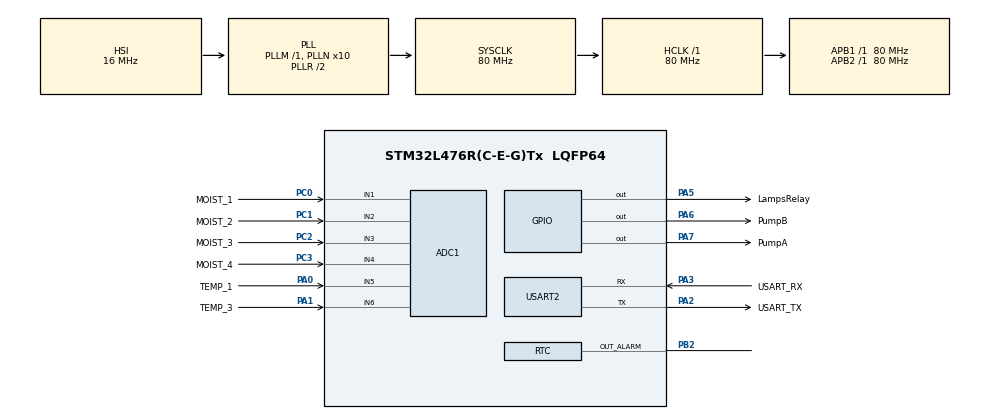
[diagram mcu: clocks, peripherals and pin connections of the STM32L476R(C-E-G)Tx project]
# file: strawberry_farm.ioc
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ADC1.Channel-0\#ChannelRegularConversion=ADC_CHANNEL_1
ADC1.Channel-1\#ChannelRegularConversion=ADC_CHANNEL_2
ADC1.Channel-2\#ChannelRegularConversion=ADC_CHANNEL_3
ADC1.Channel-3\#ChannelRegularConversion=ADC_CHANNEL_4
ADC1.Channel-4\#ChannelRegularConversion=ADC_CHANNEL_5
ADC1.Channel-5\#ChannelRegularConversion=ADC_CHANNEL_6
ADC1.EnableInjectedConversion=DISABLE
ADC1.NbrOfConversion=6
ADC1.NbrOfConversionFlag=1
ADC1.OffsetNumber-0\#ChannelRegularConversion=ADC_OFFSET_NONE
ADC1.OffsetNumber-1\#ChannelRegularConversion=ADC_OFFSET_NONE
ADC1.OffsetNumber-2\#ChannelRegularConversion=ADC_OFFSET_NONE
ADC1.OffsetNumber-3\#ChannelRegularConversion=ADC_OFFSET_NONE
ADC1.OffsetNumber-4\#ChannelRegularConversion=ADC_OFFSET_NONE
ADC1.OffsetNumber-5\#ChannelRegularConversion=ADC_OFFSET_NONE
ADC1.Rank-0\#ChannelRegularConversion=1
ADC1.Rank-1\#ChannelRegularConversion=2
ADC1.Rank-2\#ChannelRegularConversion=3
ADC1.Rank-3\#ChannelRegularConversion=4
ADC1.Rank-4\#ChannelRegularConversion=5
ADC1.Rank-5\#ChannelRegularConversion=6
ADC1.SamplingTime-0\#ChannelRegularConversion=ADC_SAMPLETIME_92CYCLES_5
ADC1.SamplingTime-1\#ChannelRegularConversion=ADC_SAMPLETIME_92CYCLES_5
ADC1.SamplingTime-2\#ChannelRegularConversion=ADC_SAMPLETIME_92CYCLES_5
ADC1.SamplingTime-3\#ChannelRegularConversion=ADC_SAMPLETIME_92CYCLES_5
ADC1.SamplingTime-4\#ChannelRegularConversion=ADC_SAMPLETIME_92CYCLES_5
ADC1.SamplingTime-5\#ChannelRegularConversion=ADC_SAMPLETIME_92CYCLES_5
ADC1.master=1
FREERTOS.Tasks01=TimeBasedTask,24,128,StartTimeBasedTask,Default,NULL,Dynamic,NULL,NULL;TransmitTask,24,128,StartTransmitTask,Default,NULL,Dynamic,NULL,NULL
FREERTOS.configUSE_NEWLIB_REENTRANT=1
FREERTOS.configUSE_TICKLESS_IDLE=1
Mcu.Family=STM32L4
Mcu.Name=STM32L476R(C-E-G)Tx
Mcu.Package=LQFP64
NVIC.PriorityGroup=NVIC_PRIORITYGROUP_4
NVIC.TIM7_IRQn=true\:15\:0\:false\:false\:true\:false\:false\:true\:true
NVIC.TimeBase=TIM7_IRQn
NVIC.TimeBaseIP=TIM7
PA0.GPIO_Label=TEMP_1
PA0.Signal=ADCx_IN5
PA1.GPIO_Label=TEMP_3
PA1.Signal=ADCx_IN6
PA13\ (JTMS-SWDIO).GPIO_Label=TMS
PA13\ (JTMS-SWDIO).Mode=Serial_Wire
PA13\ (JTMS-SWDIO).Signal=SYS_JTMS-SWDIO
PA14\ (JTCK-SWCLK).GPIO_Label=TCK
PA14\ (JTCK-SWCLK).Mode=Serial_Wire
PA14\ (JTCK-SWCLK).Signal=SYS_JTCK-SWCLK
PA2.GPIO_Label=USART_TX
PA2.GPIO_Mode=GPIO_MODE_AF_PP
PA2.GPIO_PuPd=GPIO_NOPULL
PA2.GPIO_Speed=GPIO_SPEED_FREQ_VERY_HIGH
PA2.Mode=Asynchronous
PA2.Signal=USART2_TX
PA3.GPIO_Label=USART_RX
PA3.GPIO_Mode=GPIO_MODE_AF_PP
PA3.GPIO_PuPd=GPIO_NOPULL
PA3.GPIO_Speed=GPIO_SPEED_FREQ_VERY_HIGH
PA3.Mode=Asynchronous
PA3.Signal=USART2_RX
PA5.GPIO_Label=LampsRelay
PA5.GPIO_ModeDefaultOutputPP=GPIO_MODE_OUTPUT_PP
PA5.GPIO_PuPd=GPIO_PULLUP
PA5.PinState=GPIO_PIN_SET
PA5.Signal=GPIO_Output
PA6.GPIO_Label=PumpB
PA6.GPIO_PuPd=GPIO_PULLDOWN
PA6.Signal=GPIO_Output
PA7.GPIO_Label=PumpA
PA7.GPIO_PuPd=GPIO_PULLDOWN
PA7.Signal=GPIO_Output
PB2.Mode=AlarmA_RoutedAF
PB2.Signal=RTC_OUT_ALARM
PB3\ (JTDO-TRACESWO).GPIO_Label=SWO
PB3\ (JTDO-TRACESWO).Signal=SYS_JTDO-SWO
PC0.GPIO_Label=MOIST_1
PC0.Signal=ADCx_IN1
PC1.GPIO_Label=MOIST_2
PC1.Signal=ADCx_IN2
PC14-OSC32_IN\ (PC14).Mode=LSE-External-Oscillator
PC14-OSC32_IN\ (PC14).Signal=RCC_OSC32_IN
PC15-OSC32_OUT\ (PC15).Mode=LSE-External-Oscillator
PC15-OSC32_OUT\ (PC15).Signal=RCC_OSC32_OUT
PC2.GPIO_Label=MOIST_3
PC2.Signal=ADCx_IN3
PC3.GPIO_Label=MOIST_4
PC3.Signal=ADCx_IN4
PH0-OSC_IN\ (PH0).Signal=RCC_OSC_IN
PH1-OSC_OUT\ (PH1).Signal=RCC_OSC_OUT
ProjectManager.HeapSize=0x200
ProjectManager.StackSize=0x400
ProjectManager.TargetToolchain=STM32CubeIDE
RCC.ADCFreq_Value=64000000
RCC.AHBFreq_Value=80000000
RCC.APB1Freq_Value=80000000
RCC.APB1TimFreq_Value=80000000
RCC.APB2Freq_Value=80000000
RCC.APB2TimFreq_Value=80000000
RCC.CortexFreq_Value=80000000
RCC.HCLKFreq_Value=80000000
RCC.HSE_VALUE=8000000
RCC.HSI_VALUE=16000000
RCC.MSI_VALUE=4000000
RCC.PLLN=10
RCC.PLLSourceVirtual=RCC_PLLSOURCE_HSI
RCC.PREFETCH_ENABLE=1
RCC.RTCClockSelection=RCC_RTCCLKSOURCE_LSE
RCC.SYSCLKFreq_VALUE=80000000
RCC.SYSCLKSource=RCC_SYSCLKSOURCE_PLLCLK
RCC.USBFreq_Value=64000000
RCC.VCOOutputFreq_Value=160000000
RTC.Alarm-AlarmA_RoutedAF=RTC_ALARM_A
RTC.Format=RTC_FORMAT_BIN
RTC.Hours=17
RTC.Minutes=40
RTC.Seconds=0
SH.ADCx_IN1.0=ADC1_IN1,IN1-Single-Ended
SH.ADCx_IN2.0=ADC1_IN2,IN2-Single-Ended
SH.ADCx_IN3.0=ADC1_IN3,IN3-Single-Ended
SH.ADCx_IN4.0=ADC1_IN4,IN4-Single-Ended
SH.ADCx_IN5.0=ADC1_IN5,IN5-Single-Ended
SH.ADCx_IN6.0=ADC1_IN6,IN6-Single-Ended
USART2.VirtualMode-Asynchronous=VM_ASYNC
VP_FREERTOS_VS_CMSIS_V2.Mode=CMSIS_V2
VP_RTC_VS_RTC_Activate.Mode=RTC_Enabled
VP_RTC_VS_RTC_Calendar.Mode=RTC_Calendar
VP_SYS_VS_tim7.Mode=TIM7
board=NUCLEO-L476RG

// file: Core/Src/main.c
/* USER CODE BEGIN Header */
/**
  ******************************************************************************
  * @file           : main.c
  * @brief          : Main program body
  ******************************************************************************
  * @attention
  *
  * Copyright (c) 2026 STMicroelectronics.
  * All rights reserved.
  *
  * This software is licensed under terms that can be found in the LICENSE file
  * in the root directory of this software component.
  * If no LICENSE file comes with this software, it is provided AS-IS.
  *
  ******************************************************************************
  */
/* USER CODE END Header */
#include "main.h"
#include "cmsis_os.h"

/* USER CODE BEGIN Includes */
#include "semphr.h"  // This is the one that defines SemaphoreHandle_t
#include <stdio.h>
#include "FreeRTOS.h"
/* USER CODE END Includes */

/* USER CODE BEGIN PD */
/* Buffer to store 6 ADC values */
#define V_REF 3.3f
uint16_t adc_values[6];
SemaphoreHandle_t adc_sem;
TaskHandle_t AdcTaskHandle;
/* USER CODE END PD */

ADC_HandleTypeDef hadc1;

RTC_HandleTypeDef hrtc;

UART_HandleTypeDef huart2;

/* Definitions for TimeBasedTask */
osThreadId_t TimeBasedTaskHandle;
const osThreadAttr_t TimeBasedTask_attributes = {
  .name = "TimeBasedTask",
  .stack_size = 128 * 4,
  .priority = (osPriority_t) osPriorityNormal,
};
/* Definitions for TransmitTask */
osThreadId_t TransmitTaskHandle;
const osThreadAttr_t TransmitTask_attributes = {
  .name = "TransmitTask",
  .stack_size = 128 * 4,
  .priority = (osPriority_t) osPriorityNormal,
};
/* USER CODE BEGIN PV */

typedef struct
{
    uint16_t moist_1;
    uint16_t moist_2;
    uint16_t moist_3;
    uint16_t moist_4;
    uint16_t temp_1;
    uint16_t temp_3;
} SensorRaw_t;

static SensorRaw_t g_sensor_raw;

/* USER CODE END PV */

void SystemClock_Config(void);
static void MX_GPIO_Init(void);
static void MX_USART2_UART_Init(void);
static void MX_RTC_Init(void);
static void MX_ADC1_Init(void);
void StartTimeBasedTask(void *argument);
void StartTransmitTask(void *argument);

/* USER CODE BEGIN 0 */

static HAL_StatusTypeDef ReadAllAdcChannels(SensorRaw_t *out)
{
    uint32_t values[6] = {0};

    if (out == NULL)
        return HAL_ERROR;

    if (HAL_ADC_Start(&hadc1) != HAL_OK)
        return HAL_ERROR;

    for (int i = 0; i < 6; i++)
    {
        if (HAL_ADC_PollForConversion(&hadc1, 20) != HAL_OK)
        {
            HAL_ADC_Stop(&hadc1);
            return HAL_TIMEOUT;
        }

        values[i] = HAL_ADC_GetValue(&hadc1);
    }

    if (HAL_ADC_Stop(&hadc1) != HAL_OK)
        return HAL_ERROR;

    out->moist_1 = (uint16_t)values[0];
    out->moist_2 = (uint16_t)values[1];
    out->moist_3 = (uint16_t)values[2];
    out->moist_4 = (uint16_t)values[3];
    out->temp_1  = (uint16_t)values[4];
    out->temp_3  = (uint16_t)values[5];

    return HAL_OK;
}

static float AdcToVoltage(uint16_t raw)
{
    const float vdda = 3.3f;
    return ((float)raw * vdda) / 4095.0f;
}

static void SendSensorLine(const SensorRaw_t *s)
{
    if (s == NULL)
        return;

    char txbuf[160];

    float v_m1 = AdcToVoltage(s->moist_1);
    float v_m2 = AdcToVoltage(s->moist_2);
    float v_m3 = AdcToVoltage(s->moist_3);
    float v_m4 = AdcToVoltage(s->moist_4);
    float v_t1 = AdcToVoltage(s->temp_1);
    float v_t3 = AdcToVoltage(s->temp_3);

    int len = snprintf(
        txbuf, sizeof(txbuf),
        "moist_1=%u(%.3fV), moist_2=%u(%.3fV), moist_3=%u(%.3fV), moist_4=%u(%.3fV), TEMP_1=%u(%.3fV), TEMP_3=%u(%.3fV)\r\n",
        s->moist_1, v_m1,
        s->moist_2, v_m2,
        s->moist_3, v_m3,
        s->moist_4, v_m4,
        s->temp_1,  v_t1,
        s->temp_3,  v_t3
    );

    if (len <= 0)
        return;

    if (len >= (int)sizeof(txbuf))
    {
        // Message truncated; skip it to avoid sending partial junk
        return;
    }

    // Short timeout so the task does not get stuck
    (void)HAL_UART_Transmit(&huart2, (uint8_t *)txbuf, (uint16_t)len, 50);
}
/* USER CODE END 0 */

int main(void)
{

  /* MCU Configuration--------------------------------------------------------*/

  /* Reset of all peripherals, Initializes the Flash interface and the Systick. */
  HAL_Init();

  /* Configure the system clock */
  SystemClock_Config();

  /* Initialize all configured peripherals */
  MX_GPIO_Init();
  MX_USART2_UART_Init();
  MX_RTC_Init();
  MX_ADC1_Init();

  /* Init scheduler */
  osKernelInitialize();

  /* Create the thread(s) */
  /* creation of TimeBasedTask */
  TimeBasedTaskHandle = osThreadNew(StartTimeBasedTask, NULL, &TimeBasedTask_attributes);

  /* creation of TransmitTask */
  TransmitTaskHandle = osThreadNew(StartTransmitTask, NULL, &TransmitTask_attributes);

  /* Start scheduler */
  osKernelStart();

  /* We should never get here as control is now taken by the scheduler */

  /* Infinite loop */
  while (1)
  {

  }
}

void SystemClock_Config(void)
{
  RCC_OscInitTypeDef RCC_OscInitStruct = {0};
  RCC_ClkInitTypeDef RCC_ClkInitStruct = {0};

  /** Configure the main internal regulator output voltage
  */
  if (HAL_PWREx_ControlVoltageScaling(PWR_REGULATOR_VOLTAGE_SCALE1) != HAL_OK)
  {
    Error_Handler();
  }

  /** Configure LSE Drive Capability
  */
  HAL_PWR_EnableBkUpAccess();
  __HAL_RCC_LSEDRIVE_CONFIG(RCC_LSEDRIVE_LOW);

  /** Initializes the RCC Oscillators according to the specified parameters
  * in the RCC_OscInitTypeDef structure.
  */
  RCC_OscInitStruct.OscillatorType = RCC_OSCILLATORTYPE_HSI|RCC_OSCILLATORTYPE_LSE;
  RCC_OscInitStruct.LSEState = RCC_LSE_ON;
  RCC_OscInitStruct.HSIState = RCC_HSI_ON;
  RCC_OscInitStruct.HSICalibrationValue = RCC_HSICALIBRATION_DEFAULT;
  RCC_OscInitStruct.PLL.PLLState = RCC_PLL_ON;
  RCC_OscInitStruct.PLL.PLLSource = RCC_PLLSOURCE_HSI;
  RCC_OscInitStruct.PLL.PLLM = 1;
  RCC_OscInitStruct.PLL.PLLN = 10;
  RCC_OscInitStruct.PLL.PLLP = RCC_PLLP_DIV7;
  RCC_OscInitStruct.PLL.PLLQ = RCC_PLLQ_DIV2;
  RCC_OscInitStruct.PLL.PLLR = RCC_PLLR_DIV2;
  if (HAL_RCC_OscConfig(&RCC_OscInitStruct) != HAL_OK)
  {
    Error_Handler();
  }

  /** Initializes the CPU, AHB and APB buses clocks
  */
  RCC_ClkInitStruct.ClockType = RCC_CLOCKTYPE_HCLK|RCC_CLOCKTYPE_SYSCLK
                              |RCC_CLOCKTYPE_PCLK1|RCC_CLOCKTYPE_PCLK2;
  RCC_ClkInitStruct.SYSCLKSource = RCC_SYSCLKSOURCE_PLLCLK;
  RCC_ClkInitStruct.AHBCLKDivider = RCC_SYSCLK_DIV1;
  RCC_ClkInitStruct.APB1CLKDivider = RCC_HCLK_DIV1;
  RCC_ClkInitStruct.APB2CLKDivider = RCC_HCLK_DIV1;

  if (HAL_RCC_ClockConfig(&RCC_ClkInitStruct, FLASH_LATENCY_4) != HAL_OK)
  {
    Error_Handler();
  }
}

static void MX_ADC1_Init(void)
{

  ADC_MultiModeTypeDef multimode = {0};
  ADC_ChannelConfTypeDef sConfig = {0};

  /** Common config
  */
  hadc1.Instance = ADC1;
  hadc1.Init.ClockPrescaler = ADC_CLOCK_ASYNC_DIV1;
  hadc1.Init.Resolution = ADC_RESOLUTION_12B;
  hadc1.Init.DataAlign = ADC_DATAALIGN_RIGHT;
  hadc1.Init.ScanConvMode = ADC_SCAN_ENABLE;
  hadc1.Init.EOCSelection = ADC_EOC_SINGLE_CONV;
  hadc1.Init.LowPowerAutoWait = DISABLE;
  hadc1.Init.ContinuousConvMode = DISABLE;
  hadc1.Init.NbrOfConversion = 6;
  hadc1.Init.DiscontinuousConvMode = DISABLE;
  hadc1.Init.ExternalTrigConv = ADC_SOFTWARE_START;
  hadc1.Init.ExternalTrigConvEdge = ADC_EXTERNALTRIGCONVEDGE_NONE;
  hadc1.Init.DMAContinuousRequests = DISABLE;
  hadc1.Init.Overrun = ADC_OVR_DATA_PRESERVED;
  hadc1.Init.OversamplingMode = DISABLE;
  if (HAL_ADC_Init(&hadc1) != HAL_OK)
  {
    Error_Handler();
  }

  /** Configure the ADC multi-mode
  */
  multimode.Mode = ADC_MODE_INDEPENDENT;
  if (HAL_ADCEx_MultiModeConfigChannel(&hadc1, &multimode) != HAL_OK)
  {
    Error_Handler();
  }

  /** Configure Regular Channel
  */
  sConfig.Channel = ADC_CHANNEL_1;
  sConfig.Rank = ADC_REGULAR_RANK_1;
  sConfig.SamplingTime = ADC_SAMPLETIME_92CYCLES_5;
  sConfig.SingleDiff = ADC_SINGLE_ENDED;
  sConfig.OffsetNumber = ADC_OFFSET_NONE;
  sConfig.Offset = 0;
  if (HAL_ADC_ConfigChannel(&hadc1, &sConfig) != HAL_OK)
  {
    Error_Handler();
  }

  /** Configure Regular Channel
  */
  sConfig.Channel = ADC_CHANNEL_2;
  sConfig.Rank = ADC_REGULAR_RANK_2;
  if (HAL_ADC_ConfigChannel(&hadc1, &sConfig) != HAL_OK)
  {
    Error_Handler();
  }

  /** Configure Regular Channel
  */
  sConfig.Channel = ADC_CHANNEL_3;
  sConfig.Rank = ADC_REGULAR_RANK_3;
  if (HAL_ADC_ConfigChannel(&hadc1, &sConfig) != HAL_OK)
  {
    Error_Handler();
  }

  /** Configure Regular Channel
  */
  sConfig.Channel = ADC_CHANNEL_4;
  sConfig.Rank = ADC_REGULAR_RANK_4;
  if (HAL_ADC_ConfigChannel(&hadc1, &sConfig) != HAL_OK)
  {
    Error_Handler();
  }

  /** Configure Regular Channel
  */
  sConfig.Channel = ADC_CHANNEL_5;
  sConfig.Rank = ADC_REGULAR_RANK_5;
  if (HAL_ADC_ConfigChannel(&hadc1, &sConfig) != HAL_OK)
  {
    Error_Handler();
  }

  /** Configure Regular Channel
  */
  sConfig.Channel = ADC_CHANNEL_6;
  sConfig.Rank = ADC_REGULAR_RANK_6;
  if (HAL_ADC_ConfigChannel(&hadc1, &sConfig) != HAL_OK)
  {
    Error_Handler();
  }

}

static void MX_RTC_Init(void)
{

  RTC_TimeTypeDef sTime = {0};
  RTC_DateTypeDef sDate = {0};
  RTC_AlarmTypeDef sAlarm = {0};

  /** Initialize RTC Only
  */
  hrtc.Instance = RTC;
  hrtc.Init.HourFormat = RTC_HOURFORMAT_24;
  hrtc.Init.AsynchPrediv = 127;
  hrtc.Init.SynchPrediv = 255;
  hrtc.Init.OutPut = RTC_OUTPUT_ALARMA;
  hrtc.Init.OutPutRemap = RTC_OUTPUT_REMAP_POS1;
  hrtc.Init.OutPutPolarity = RTC_OUTPUT_POLARITY_HIGH;
  hrtc.Init.OutPutType = RTC_OUTPUT_TYPE_OPENDRAIN;
  if (HAL_RTC_Init(&hrtc) != HAL_OK)
  {
    Error_Handler();
  }

  /** Initialize RTC and set the Time and Date
  */
  sTime.Hours = 17;
  sTime.Minutes = 40;
  sTime.Seconds = 0;
  sTime.DayLightSaving = RTC_DAYLIGHTSAVING_NONE;
  sTime.StoreOperation = RTC_STOREOPERATION_RESET;
  if (HAL_RTC_SetTime(&hrtc, &sTime, RTC_FORMAT_BIN) != HAL_OK)
  {
    Error_Handler();
  }
  sDate.WeekDay = RTC_WEEKDAY_MONDAY;
  sDate.Month = RTC_MONTH_JANUARY;
  sDate.Date = 1;
  sDate.Year = 0;

  if (HAL_RTC_SetDate(&hrtc, &sDate, RTC_FORMAT_BIN) != HAL_OK)
  {
    Error_Handler();
  }

  /** Enable the Alarm A
  */
  sAlarm.AlarmTime.Hours = 0;
  sAlarm.AlarmTime.Minutes = 0;
  sAlarm.AlarmTime.Seconds = 0;
  sAlarm.AlarmTime.SubSeconds = 0;
  sAlarm.AlarmTime.DayLightSaving = RTC_DAYLIGHTSAVING_NONE;
  sAlarm.AlarmTime.StoreOperation = RTC_STOREOPERATION_RESET;
  sAlarm.AlarmMask = RTC_ALARMMASK_NONE;
  sAlarm.AlarmSubSecondMask = RTC_ALARMSUBSECONDMASK_ALL;
  sAlarm.AlarmDateWeekDaySel = RTC_ALARMDATEWEEKDAYSEL_DATE;
  sAlarm.AlarmDateWeekDay = 1;
  sAlarm.Alarm = RTC_ALARM_A;
  if (HAL_RTC_SetAlarm(&hrtc, &sAlarm, RTC_FORMAT_BIN) != HAL_OK)
  {
    Error_Handler();
  }

}

static void MX_USART2_UART_Init(void)
{

  huart2.Instance = USART2;
  huart2.Init.BaudRate = 115200;
  huart2.Init.WordLength = UART_WORDLENGTH_8B;
  huart2.Init.StopBits = UART_STOPBITS_1;
  huart2.Init.Parity = UART_PARITY_NONE;
  huart2.Init.Mode = UART_MODE_TX_RX;
  huart2.Init.HwFlowCtl = UART_HWCONTROL_NONE;
  huart2.Init.OverSampling = UART_OVERSAMPLING_16;
  huart2.Init.OneBitSampling = UART_ONE_BIT_SAMPLE_DISABLE;
  huart2.AdvancedInit.AdvFeatureInit = UART_ADVFEATURE_NO_INIT;
  if (HAL_UART_Init(&huart2) != HAL_OK)
  {
    Error_Handler();
  }

}

static void MX_GPIO_Init(void)
{
  GPIO_InitTypeDef GPIO_InitStruct = {0};
  /* USER CODE BEGIN MX_GPIO_Init_1 */
  __HAL_RCC_SYSCFG_CLK_ENABLE();
  /* USER CODE END MX_GPIO_Init_1 */

  /* GPIO Ports Clock Enable */
  __HAL_RCC_GPIOC_CLK_ENABLE();
  __HAL_RCC_GPIOH_CLK_ENABLE();
  __HAL_RCC_GPIOA_CLK_ENABLE();
  __HAL_RCC_GPIOB_CLK_ENABLE();

  /*Configure GPIO pin Output Level */
  HAL_GPIO_WritePin(LampsRelay_GPIO_Port, LampsRelay_Pin, GPIO_PIN_SET);

  /*Configure GPIO pin Output Level */
  HAL_GPIO_WritePin(GPIOA, PumpB_Pin|PumpA_Pin, GPIO_PIN_RESET);

  /*Configure GPIO pin : LampsRelay_Pin */
  GPIO_InitStruct.Pin = LampsRelay_Pin;
  GPIO_InitStruct.Mode = GPIO_MODE_OUTPUT_PP;
  GPIO_InitStruct.Pull = GPIO_PULLUP;
  GPIO_InitStruct.Speed = GPIO_SPEED_FREQ_LOW;
  HAL_GPIO_Init(LampsRelay_GPIO_Port, &GPIO_InitStruct);

  /*Configure GPIO pins : PumpB_Pin PumpA_Pin */
  GPIO_InitStruct.Pin = PumpB_Pin|PumpA_Pin;
  GPIO_InitStruct.Mode = GPIO_MODE_OUTPUT_PP;
  GPIO_InitStruct.Pull = GPIO_PULLDOWN;
  GPIO_InitStruct.Speed = GPIO_SPEED_FREQ_LOW;
  HAL_GPIO_Init(GPIOA, &GPIO_InitStruct);

}

void StartTimeBasedTask(void *argument)
{
  /* USER CODE BEGIN 5 */
  /* Infinite loop */

	RTC_TimeTypeDef sTime;
	RTC_DateTypeDef sDate; // You must read Date after Time to unlock the RTC registers

	uint32_t morning_start = 7 * 3600;           // 07:00:00
	uint32_t morning_end   = 7 * 3600 + 25;      // 07:00:19
	uint32_t noon_start = 15 * 3600 + 25;           // 15
	uint32_t noon_end   = 15 * 3600 + 50;      // 15
	uint32_t evening_start = 22.5 * 3600 + 50;     // 22:30:19 (14 hours after morning end)
	uint32_t evening_end   = 22.5 * 3600 + 75;     // 22:30:38

	for(;;) {
	  HAL_RTC_GetTime(&hrtc, &sTime, RTC_FORMAT_BIN);
	  HAL_RTC_GetDate(&hrtc, &sDate, RTC_FORMAT_BIN);

	  uint32_t now = (sTime.Hours * 3600) + (sTime.Minutes * 60) + sTime.Seconds;

	  if (now >= morning_start && now < morning_end) {
		  // 08:00:00 to 08:00:20 -> RESET, SET, SET
		  HAL_GPIO_WritePin(LampsRelay_GPIO_Port, LampsRelay_Pin, GPIO_PIN_RESET);
		  HAL_GPIO_WritePin(PumpA_GPIO_Port, PumpA_Pin, GPIO_PIN_SET);
		  HAL_GPIO_WritePin(PumpB_GPIO_Port, PumpB_Pin, GPIO_PIN_SET);
	  }
	  else if (now >= morning_end && now < noon_start) {
		  // 08:00:20 to 15:00 -> RESET, RESET, RESET
		  HAL_GPIO_WritePin(LampsRelay_GPIO_Port, LampsRelay_Pin, GPIO_PIN_RESET);
		  HAL_GPIO_WritePin(PumpA_GPIO_Port, PumpA_Pin, GPIO_PIN_RESET);
		  HAL_GPIO_WritePin(PumpB_GPIO_Port, PumpB_Pin, GPIO_PIN_RESET);
	  }
	  else if (now >= noon_start && now < noon_end) {
		  // 15:00:25 - 15:00:50
		  HAL_GPIO_WritePin(LampsRelay_GPIO_Port, LampsRelay_Pin, GPIO_PIN_RESET);
		  HAL_GPIO_WritePin(PumpA_GPIO_Port, PumpA_Pin, GPIO_PIN_SET);
		  HAL_GPIO_WritePin(PumpB_GPIO_Port, PumpB_Pin, GPIO_PIN_SET);
	  }
	  else if (now >= noon_end && now < evening_start) {
		  // 15:00:50 - 22:30:50
		  HAL_GPIO_WritePin(LampsRelay_GPIO_Port, LampsRelay_Pin, GPIO_PIN_RESET);
		  HAL_GPIO_WritePin(PumpA_GPIO_Port, PumpA_Pin, GPIO_PIN_RESET);
		  HAL_GPIO_WritePin(PumpB_GPIO_Port, PumpB_Pin, GPIO_PIN_RESET);
	  }
	  else if (now >= evening_start && now < evening_end) {
		  // 22:30:50 - 22:31:15 -> RESET, SET, SET
		  HAL_GPIO_WritePin(LampsRelay_GPIO_Port, LampsRelay_Pin, GPIO_PIN_RESET);
		  HAL_GPIO_WritePin(PumpA_GPIO_Port, PumpA_Pin, GPIO_PIN_SET);
		  HAL_GPIO_WritePin(PumpB_GPIO_Port, PumpB_Pin, GPIO_PIN_SET);
	  }
	  else {
		  // All other times (22:31:15 until 07:59:59) -> SET, RESET, RESET
		  HAL_GPIO_WritePin(LampsRelay_GPIO_Port, LampsRelay_Pin, GPIO_PIN_SET);
		  HAL_GPIO_WritePin(PumpA_GPIO_Port, PumpA_Pin, GPIO_PIN_RESET);
		  HAL_GPIO_WritePin(PumpB_GPIO_Port, PumpB_Pin, GPIO_PIN_RESET);
	  }
	  osDelay(1000); // Check every 1 second
	}
  /* USER CODE END 5 */
}

void StartTransmitTask(void *argument)
{
  /* USER CODE BEGIN StartTransmitTask */
  /* Infinite loop */

	{
		TickType_t lastWakeTime = xTaskGetTickCount();
		const TickType_t period = pdMS_TO_TICKS(10000); // 10 seconds

		for (;;)
		{
			if (ReadAllAdcChannels(&g_sensor_raw) == HAL_OK)
			{
				SendSensorLine(&g_sensor_raw);
			}
			else
			{
				const char err[] = "ADC read error\r\n";
				(void)HAL_UART_Transmit(&huart2, (uint8_t*)err, sizeof(err) - 1, 20);
			}

			vTaskDelayUntil(&lastWakeTime, period);
		}
	}

  /* USER CODE END StartTransmitTask */
}

void HAL_TIM_PeriodElapsedCallback(TIM_HandleTypeDef *htim)
{
  if (htim->Instance == TIM7)
  {
    HAL_IncTick();
  }
}

void Error_Handler(void)
{
  __disable_irq();
  while (1)
  {
  }
}

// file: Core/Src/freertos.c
/* USER CODE BEGIN Header */
/**
  ******************************************************************************
  * File Name          : freertos.c
  * Description        : Code for freertos applications
  ******************************************************************************
  * @attention
  *
  * Copyright (c) 2026 STMicroelectronics.
  * All rights reserved.
  *
  * This software is licensed under terms that can be found in the LICENSE file
  * in the root directory of this software component.
  * If no LICENSE file comes with this software, it is provided AS-IS.
  *
  ******************************************************************************
  */
/* USER CODE END Header */

#include "FreeRTOS.h"
#include "task.h"
#include "main.h"

/* USER CODE BEGIN PREPOSTSLEEP */
__weak void PreSleepProcessing(uint32_t ulExpectedIdleTime)
{
/* place for user code */
}

__weak void PostSleepProcessing(uint32_t ulExpectedIdleTime)
{
/* place for user code */
}
/* USER CODE END PREPOSTSLEEP */
